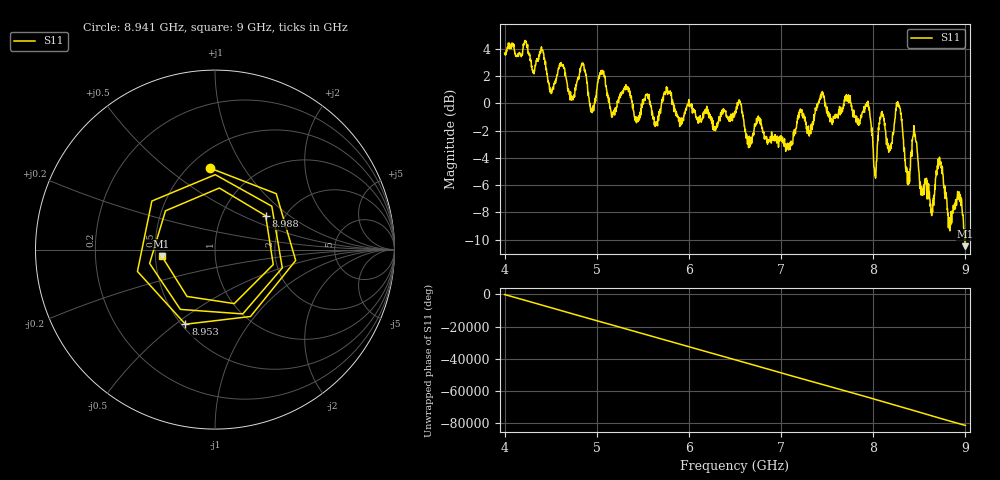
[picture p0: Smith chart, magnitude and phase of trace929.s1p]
! Created with skrf 1.8.0 (http://scikit-rf.org).
# Hz S RI R 50.0
!freq ReS11 ImS11
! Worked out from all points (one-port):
!   1601 points, 4 GHz to 9 GHz, reference 50 ohm
!   lowest |S11| = -10.5 dB at 9 GHz (marker M1), VSWR 1.85, Z = 27 - j2.08 ohm
!   |S11| at or under -10 dB: 8.994598 GHz to end of sweep
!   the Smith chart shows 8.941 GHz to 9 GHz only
!   S11 on the Smith chart (normalised r, x): 8.941 GHz: 0.63, +0.72; 8.953 GHz: 0.52, -0.54; 8.988 GHz: 1.61, +0.69; 9 GHz: 0.54, -0.04
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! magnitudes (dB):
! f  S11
! 4 GHz  3.7
! 4.406 GHz  3.9
! 4.506 GHz  0.7
! 4.625 GHz  2.7
! 4.734 GHz  0.4
! 4.853 GHz  2.8
! 4.947 GHz  -0.4
! 5.053 GHz  2.4
! 5.169 GHz  -1.0
! 5.25 GHz  0.6
! 5.875 GHz  -0.9
! 6.5 GHz  -0.8
! 7.125 GHz  -3.0
! 7.75 GHz  0.6
! 7.941 GHz  0.2
! 8.022 GHz  -5.0
! 8.084 GHz  -1.0
! 8.181 GHz  -3.1
! 8.275 GHz  -0.1
! 8.375 GHz  -5.3
! 8.447 GHz  -2.1
! 8.631 GHz  -7.8
! 8.719 GHz  -3.9
! 8.828 GHz  -8.8
! 8.941 GHz  -6.8
! 8.953 GHz  -7.0
! 8.988 GHz  -9.4
! 9 GHz  -10.5
